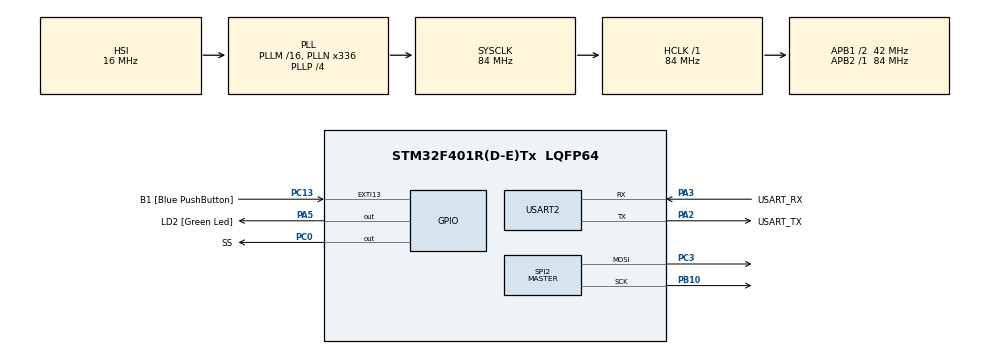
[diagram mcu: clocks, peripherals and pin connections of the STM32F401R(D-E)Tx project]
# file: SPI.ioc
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Mcu.Family=STM32F4
Mcu.Name=STM32F401R(D-E)Tx
Mcu.Package=LQFP64
NVIC.PriorityGroup=NVIC_PRIORITYGROUP_4
PA13.GPIO_Label=TMS
PA13.Mode=Trace_Asynchronous_SW
PA13.Signal=SYS_JTMS-SWDIO
PA14.GPIO_Label=TCK
PA14.Mode=Trace_Asynchronous_SW
PA14.Signal=SYS_JTCK-SWCLK
PA2.GPIO_Label=USART_TX
PA2.GPIO_Mode=GPIO_MODE_AF_PP
PA2.GPIO_PuPd=GPIO_NOPULL
PA2.GPIO_Speed=GPIO_SPEED_FREQ_LOW
PA2.Mode=Asynchronous
PA2.Signal=USART2_TX
PA3.GPIO_Label=USART_RX
PA3.GPIO_Mode=GPIO_MODE_AF_PP
PA3.GPIO_PuPd=GPIO_NOPULL
PA3.GPIO_Speed=GPIO_SPEED_FREQ_LOW
PA3.Mode=Asynchronous
PA3.Signal=USART2_RX
PA5.GPIO_Label=LD2 [Green Led]
PA5.GPIO_Mode=GPIO_MODE_OUTPUT_PP
PA5.GPIO_PuPd=GPIO_NOPULL
PA5.GPIO_Speed=GPIO_SPEED_FREQ_LOW
PA5.Signal=GPIO_Output
PB10.Mode=TX_Only_Simplex_Unidirect_Master
PB10.Signal=SPI2_SCK
PB3.GPIO_Label=SWO
PB3.Mode=Trace_Asynchronous_SW
PB3.Signal=SYS_JTDO-SWO
PC0.GPIO_Label=SS
PC0.GPIO_Speed=GPIO_SPEED_FREQ_VERY_HIGH
PC0.PinState=GPIO_PIN_SET
PC0.Signal=GPIO_Output
PC13-ANTI_TAMP.GPIO_Label=B1 [Blue PushButton]
PC13-ANTI_TAMP.GPIO_ModeDefaultEXTI=GPIO_MODE_IT_FALLING
PC13-ANTI_TAMP.GPIO_PuPd=GPIO_NOPULL
PC13-ANTI_TAMP.Signal=GPXTI13
PC14-OSC32_IN.Mode=LSE-External-Oscillator
PC14-OSC32_IN.Signal=RCC_OSC32_IN
PC15-OSC32_OUT.Mode=LSE-External-Oscillator
PC15-OSC32_OUT.Signal=RCC_OSC32_OUT
PC3.Mode=TX_Only_Simplex_Unidirect_Master
PC3.Signal=SPI2_MOSI
PH0\ -\ OSC_IN.Mode=HSE-External-Clock-Source
PH0\ -\ OSC_IN.Signal=RCC_OSC_IN
PH1\ -\ OSC_OUT.Mode=HSE-External-Clock-Source
PH1\ -\ OSC_OUT.Signal=RCC_OSC_OUT
ProjectManager.HeapSize=0x200
ProjectManager.StackSize=0x400
ProjectManager.TargetToolchain=STM32CubeIDE
RCC.48MHZClocksFreq_Value=48000000
RCC.AHBFreq_Value=84000000
RCC.APB1CLKDivider=RCC_HCLK_DIV2
RCC.APB1Freq_Value=42000000
RCC.APB1TimFreq_Value=84000000
RCC.APB2Freq_Value=84000000
RCC.APB2TimFreq_Value=84000000
RCC.CortexFreq_Value=84000000
RCC.HCLKFreq_Value=84000000
RCC.HSE_VALUE=8000000
RCC.HSI_VALUE=16000000
RCC.PLLN=336
RCC.PLLP=RCC_PLLP_DIV4
RCC.PLLQ=7
RCC.SYSCLKFreq_VALUE=84000000
RCC.SYSCLKSource=RCC_SYSCLKSOURCE_PLLCLK
RCC.VCOOutputFreq_Value=336000000
SPI2.BaudRatePrescaler=SPI_BAUDRATEPRESCALER_256
SPI2.Direction=SPI_DIRECTION_2LINES
SPI2.Mode=SPI_MODE_MASTER
SPI2.VirtualType=VM_MASTER
USART2.VirtualMode=VM_ASYNC
board=NUCLEO-F401RE

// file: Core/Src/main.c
/* USER CODE BEGIN Header */
/**
  ******************************************************************************
  * @file           : main.c
  * @brief          : Main program body
  ******************************************************************************
  * @attention
  *
  * Copyright (c) 2025 STMicroelectronics.
  * All rights reserved.
  *
  * This software is licensed under terms that can be found in the LICENSE file
  * in the root directory of this software component.
  * If no LICENSE file comes with this software, it is provided AS-IS.
  *
  ******************************************************************************
  */
/* USER CODE END Header */
#include "main.h"

/* USER CODE BEGIN Includes */
#include <stdlib.h> // Adicionado para a função rand()
/* USER CODE END Includes */

SPI_HandleTypeDef hspi2;

UART_HandleTypeDef huart2;

/* USER CODE BEGIN PV */
// Os arrays do coelho não são mais usados na animação principal,
// mas podem ser mantidos para uso futuro.
uint8_t coelho1[8] = {
	0b00100100, // orelhas
	0b00100100, // orelhas
	0b00111100, // topo da cabeça
	0b01111110, // rosto
	0b01011010, // olhos e nariz
	0b01111110, // bochechas
	0b00100100, // boca
	0b01000010 // base da cabeça
};
uint8_t coelho2[8] = {
	0b00100100, // orelhas
	0b00011000, // orelhas dobradas
	0b00111100, // topo da cabeça
	0b01111110, // rosto
	0b01000010, // olhos "fechados"
	0b01111110, // bochechas
	0b00111100, // boca aberta
	0b01000010 // base da cabeça
};
/* USER CODE END PV */

void SystemClock_Config(void);
static void MX_GPIO_Init(void);
static void MX_USART2_UART_Init(void);
static void MX_SPI2_Init(void);
/* USER CODE BEGIN PFP */
void MAX7219_Send(uint8_t address, uint8_t data) {
    uint8_t tx[2] = { address, data };
    HAL_GPIO_WritePin(SS_GPIO_Port, SS_Pin, GPIO_PIN_RESET);
    HAL_SPI_Transmit(&hspi2, tx, 2, HAL_MAX_DELAY);
    HAL_GPIO_WritePin(SS_GPIO_Port, SS_Pin, GPIO_PIN_SET);
}

void MAX7219_Init(void) {
    MAX7219_Send(0x0F, 0x00); // Display test: off
    MAX7219_Send(0x0C, 0x01); // Shutdown: normal operation
    MAX7219_Send(0x0B, 0x07); // Scan limit: 8 digits
    MAX7219_Send(0x0A, 0x08); // Intensity: medium (0x0F é max)
    MAX7219_Send(0x09, 0x00); // Decode mode: no decode
}

// Função para limpar o display
void MAX7219_Clear(void) {
    uint8_t i;
    for (i = 1; i <= 8; i++) {
        MAX7219_Send(i, 0);
    }
}

// Função para enviar um frame (imagem) para o display
void MAX7219_Frame(uint8_t *frame) {
    uint8_t i;
    for (i = 0; i <= 7; i++) {
        MAX7219_Send(i + 1, frame[i]);
    }
}

// NOVA FUNÇÃO DE ANIMAÇÃO
void Animate_MatrixRain(uint32_t step_delay_ms) {
    // Buffer para a imagem a ser exibida
    uint8_t display_buffer[8];
    // Posição Y de cada "gota" (uma para cada coluna)
    int8_t drop_y[8];
    // Comprimento da cauda de cada gota
    uint8_t drop_len[8];

    // Inicializa as gotas fora da tela
    for (int i = 0; i < 8; i++) {
        drop_y[i] = -1; // -1 significa que a gota está inativa
        drop_len[i] = 4 + (rand() % 5); // Comprimento aleatório entre 4 e 8
    }

    // Loop da animação
    while(1) { // Este while substitui o do main
        // 1. Limpa o buffer de exibição
        for (int i = 0; i < 8; i++) {
            display_buffer[i] = 0x00;
        }

        // 2. Desenha cada gota no buffer
        for (int col = 0; col < 8; col++) {
            if (drop_y[col] != -1) {
                for (int len = 0; len < drop_len[col]; len++) {
                    int current_y = drop_y[col] - len;
                    if (current_y >= 0 && current_y < 8) {
                        // Acende o pixel na posição (current_y, col)
                        // A cauda fica mais fraca (pixels de baixo são apagados primeiro)
                        if (len > 2) { // Deixa a cabeça da gota mais brilhante/sólida
                             display_buffer[current_y] |= (1 << (7 - col));
                        }
                    }
                }
            }
        }

        // 3. Envia o buffer para a matriz de LED
        MAX7219_Frame(display_buffer);
        HAL_Delay(step_delay_ms);

        // 4. Atualiza a posição das gotas para o próximo quadro
        for (int col = 0; col < 8; col++) {
            if (drop_y[col] == -1) {
                // Chance de 1 em 8 de uma nova gota aparecer
                if ((rand() % 8) == 0) {
                    drop_y[col] = 0;
                    drop_len[col] = 4 + (rand() % 5);
                }
            } else {
                drop_y[col]++;
                // Se a gota saiu da tela, a reseta
                if (drop_y[col] > (7 + drop_len[col])) {
                    drop_y[col] = -1;
                }
            }
        }
    } // Fim do loop da animação
}

/* USER CODE END PFP */

int main(void)
{

  /* MCU Configuration--------------------------------------------------------*/

  /* Reset of all peripherals, Initializes the Flash interface and the Systick. */
  HAL_Init();

  /* Configure the system clock */
  SystemClock_Config();

  /* Initialize all configured peripherals */
  MX_GPIO_Init();
  MX_USART2_UART_Init();
  MX_SPI2_Init();
  /* USER CODE BEGIN 2 */
  // Inicia o gerador de números aleatórios
  srand(HAL_GetTick());

  // Inicia o display MAX7219
  MAX7219_Init();
  MAX7219_Clear(); // Garante que o display comece limpo
  HAL_Delay(100);

  /* USER CODE END 2 */

  /* Infinite loop */
  /* USER CODE BEGIN WHILE */

  // A função de animação tem seu próprio loop infinito,
  // então o while(1) do main não é mais necessário aqui.
  Animate_MatrixRain(75); // O número é o atraso em ms. Altere para deixar mais rápido/lento.

  while (1)
  {
    // O código aqui não será executado pois Animate_MatrixRain tem um loop infinito.
    /* USER CODE END WHILE */

  }
}

void SystemClock_Config(void)
{
  RCC_OscInitTypeDef RCC_OscInitStruct = {0};
  RCC_ClkInitTypeDef RCC_ClkInitStruct = {0};

  /** Configure the main internal regulator output voltage
  */
  __HAL_RCC_PWR_CLK_ENABLE();
  __HAL_PWR_VOLTAGESCALING_CONFIG(PWR_REGULATOR_VOLTAGE_SCALE2);

  /** Initializes the RCC Oscillators according to the specified parameters
  * in the RCC_OscInitTypeDef structure.
  */
  RCC_OscInitStruct.OscillatorType = RCC_OSCILLATORTYPE_HSI;
  RCC_OscInitStruct.HSIState = RCC_HSI_ON;
  RCC_OscInitStruct.HSICalibrationValue = RCC_HSICALIBRATION_DEFAULT;
  RCC_OscInitStruct.PLL.PLLState = RCC_PLL_ON;
  RCC_OscInitStruct.PLL.PLLSource = RCC_PLLSOURCE_HSI;
  RCC_OscInitStruct.PLL.PLLM = 16;
  RCC_OscInitStruct.PLL.PLLN = 336;
  RCC_OscInitStruct.PLL.PLLP = RCC_PLLP_DIV4;
  RCC_OscInitStruct.PLL.PLLQ = 7;
  if (HAL_RCC_OscConfig(&RCC_OscInitStruct) != HAL_OK)
  {
    Error_Handler();
  }

  /** Initializes the CPU, AHB and APB buses clocks
  */
  RCC_ClkInitStruct.ClockType = RCC_CLOCKTYPE_HCLK|RCC_CLOCKTYPE_SYSCLK
                              |RCC_CLOCKTYPE_PCLK1|RCC_CLOCKTYPE_PCLK2;
  RCC_ClkInitStruct.SYSCLKSource = RCC_SYSCLKSOURCE_PLLCLK;
  RCC_ClkInitStruct.AHBCLKDivider = RCC_SYSCLK_DIV1;
  RCC_ClkInitStruct.APB1CLKDivider = RCC_HCLK_DIV2;
  RCC_ClkInitStruct.APB2CLKDivider = RCC_HCLK_DIV1;

  if (HAL_RCC_ClockConfig(&RCC_ClkInitStruct, FLASH_LATENCY_2) != HAL_OK)
  {
    Error_Handler();
  }
}

static void MX_SPI2_Init(void)
{

  /* SPI2 parameter configuration*/
  hspi2.Instance = SPI2;
  hspi2.Init.Mode = SPI_MODE_MASTER;
  hspi2.Init.Direction = SPI_DIRECTION_2LINES;
  hspi2.Init.DataSize = SPI_DATASIZE_8BIT;
  hspi2.Init.CLKPolarity = SPI_POLARITY_LOW;
  hspi2.Init.CLKPhase = SPI_PHASE_1EDGE;
  hspi2.Init.NSS = SPI_NSS_SOFT;
  hspi2.Init.BaudRatePrescaler = SPI_BAUDRATEPRESCALER_32; // Aumentei a velocidade do SPI
  hspi2.Init.FirstBit = SPI_FIRSTBIT_MSB;
  hspi2.Init.TIMode = SPI_TIMODE_DISABLE;
  hspi2.Init.CRCCalculation = SPI_CRCCALCULATION_DISABLE;
  hspi2.Init.CRCPolynomial = 10;
  if (HAL_SPI_Init(&hspi2) != HAL_OK)
  {
    Error_Handler();
  }

}

static void MX_USART2_UART_Init(void)
{

  huart2.Instance = USART2;
  huart2.Init.BaudRate = 115200;
  huart2.Init.WordLength = UART_WORDLENGTH_8B;
  huart2.Init.StopBits = UART_STOPBITS_1;
  huart2.Init.Parity = UART_PARITY_NONE;
  huart2.Init.Mode = UART_MODE_TX_RX;
  huart2.Init.HwFlowCtl = UART_HWCONTROL_NONE;
  huart2.Init.OverSampling = UART_OVERSAMPLING_16;
  if (HAL_UART_Init(&huart2) != HAL_OK)
  {
    Error_Handler();
  }

}

static void MX_GPIO_Init(void)
{
  GPIO_InitTypeDef GPIO_InitStruct = {0};

  /* GPIO Ports Clock Enable */
  __HAL_RCC_GPIOC_CLK_ENABLE();
  __HAL_RCC_GPIOH_CLK_ENABLE();
  __HAL_RCC_GPIOA_CLK_ENABLE();
  __HAL_RCC_GPIOB_CLK_ENABLE();

  /*Configure GPIO pin Output Level */
  HAL_GPIO_WritePin(SS_GPIO_Port, SS_Pin, GPIO_PIN_SET);

  /*Configure GPIO pin Output Level */
  HAL_GPIO_WritePin(LD2_GPIO_Port, LD2_Pin, GPIO_PIN_RESET);

  /*Configure GPIO pin : B1_Pin */
  GPIO_InitStruct.Pin = B1_Pin;
  GPIO_InitStruct.Mode = GPIO_MODE_IT_FALLING;
  GPIO_InitStruct.Pull = GPIO_NOPULL;
  HAL_GPIO_Init(B1_GPIO_Port, &GPIO_InitStruct);

  /*Configure GPIO pin : SS_Pin */
  GPIO_InitStruct.Pin = SS_Pin;
  GPIO_InitStruct.Mode = GPIO_MODE_OUTPUT_PP;
  GPIO_InitStruct.Pull = GPIO_NOPULL;
  GPIO_InitStruct.Speed = GPIO_SPEED_FREQ_VERY_HIGH;
  HAL_GPIO_Init(SS_GPIO_Port, &GPIO_InitStruct);

  /*Configure GPIO pin : LD2_Pin */
  GPIO_InitStruct.Pin = LD2_Pin;
  GPIO_InitStruct.Mode = GPIO_MODE_OUTPUT_PP;
  GPIO_InitStruct.Pull = GPIO_NOPULL;
  GPIO_InitStruct.Speed = GPIO_SPEED_FREQ_LOW;
  HAL_GPIO_Init(LD2_GPIO_Port, &GPIO_InitStruct);

}

void Error_Handler(void)
{
  __disable_irq();
  while (1)
  {
  }
}
